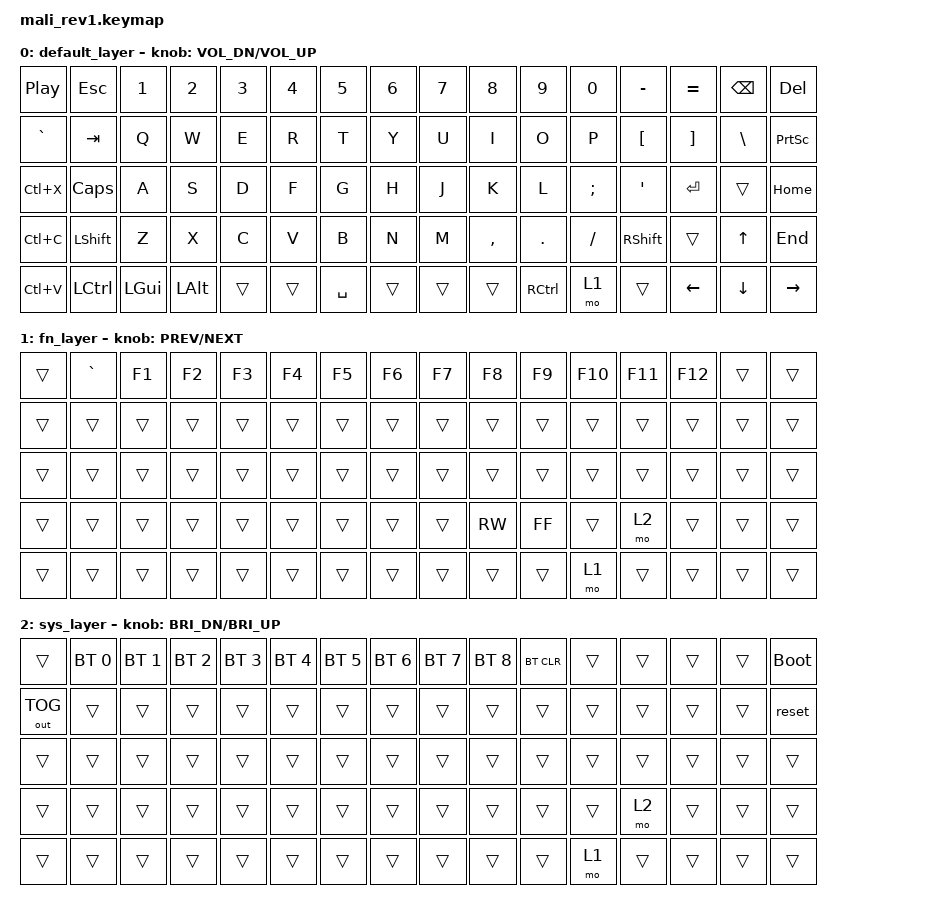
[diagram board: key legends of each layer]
#include <behaviors.dtsi>
#include <dt-bindings/zmk/keys.h>
#include <dt-bindings/zmk/bt.h>
#include <dt-bindings/zmk/outputs.h>
#include <dt-bindings/zmk/rgb.h>
#include <dt-bindings/zmk/ext_power.h>

/ {
	keymap {
		compatible = "zmk,keymap";

		default_layer {
// -----------------------------------------------------------------------------------------
// P/P   | ESC     | 1     | 2     | 3     | 4     | 5     | 6     | 7     | 8     | 9     | 0     | -     |  =    | BSPC  | DEL |
// GRAVE | TAB     | Q     | W     | E     | R     | T     | Y     | U     | I     | O     | P     | [     |  ]    | \     | Print  |
// CUT   | CAPS    | A     | S     | D     | F     | G     | H     | J     | K     | L     | ;     | '     | ENTER |       | HOME   |
// Copy  | SHIFT   | Z     | X     | C     | V     | B     | N     | M     | ,     | .     | /     | SHFT  |       | UP    | END   |
// Paste | CTRL    | WIN   | ALT   |                SPACE                          | CTRL  | LT 1  |       | LFT   | DWN   | RGT   |

			bindings = <
	&kp C_PLAY_PAUSE	&kp ESC         &kp N1           &kp N2        &kp N3        &kp N4        &kp N5           &kp N6           &kp N7           &kp N8           &kp N9           &kp N0           &kp MINUS        &kp EQUAL        &kp BSPC        &kp DEL
	&kp GRAVE			&kp TAB         &kp Q            &kp W         &kp E         &kp R         &kp T            &kp Y            &kp U            &kp I            &kp O            &kp P            &kp LBKT         &kp RBKT         &kp BSLH        &kp PSCRN
	&kp LC(X)			&kp CAPS        &kp A            &kp S         &kp D         &kp F         &kp G            &kp H            &kp J            &kp K            &kp L            &kp SEMI         &kp SQT          &kp RET          &trans          &kp HOME
	&kp LC(C)			&kp LSHFT       &kp Z            &kp X         &kp C         &kp V         &kp B            &kp N            &kp M            &kp COMMA        &kp DOT          &kp FSLH         &kp RSHFT        &trans           &kp UP          &kp END
    &kp LC(V)			&kp LCTRL       &kp LGUI         &kp LALT      &trans        &trans        &kp SPACE        &trans           &trans           &trans           &kp RCTRL         &mo 1            &trans           &kp LEFT         &kp DOWN        &kp RIGHT
			>;
			
			sensor-bindings = <&inc_dec_kp C_VOL_DN C_VOL_UP>;
			
		};


				fn_layer {
// |       | GRAVE |  F1   |  F2   |  F3   |  F4   |  F5   |  F6   |  F7   |  F8   |  F9   |  F10  |  F11  |  F12  | 	|	 |
// |       |       |       |       |       |       |       |       |       |       |       |       |       |       | 	|	 |
// |       |       |       |       |       |       |       |       |       |       |       |       |       |       | 	|    |
// |       |       |       |       |       |       |       |       |       |  RW   |  FF   |       | LT 2  |       | 	|    |
// |       |       |       |                                                       |       | LT 1  |       |       |    |	 |
			bindings = <
	&trans       &kp GRAVE     	  &kp F1     	   &kp F2  		 &kp F3        &kp F4        &kp F5           &kp F6           &kp F7           &kp F8           &kp F9           &kp F10          &kp F11          &kp F12          &trans          &trans
    &trans		 &trans           &trans           &trans        &trans        &trans        &trans           &trans           &trans           &trans           &trans           &trans           &trans           &trans           &trans          &trans    
	&trans       &trans           &trans           &trans        &trans        &trans        &trans           &trans           &trans           &trans           &trans           &trans           &trans           &trans           &trans          &trans    
	&trans       &trans           &trans           &trans        &trans        &trans        &trans           &trans           &trans           &kp C_RW         &kp C_FF         &trans           &mo 2            &trans           &trans          &trans
	&trans       &trans           &trans           &trans        &trans        &trans        &trans           &trans           &trans           &trans           &trans           &mo 1            &trans           &trans           &trans          &trans
			>;

			sensor-bindings = <&inc_dec_kp C_PREV C_NEXT>;

		};
				sys_layer {
// |       | BT_1  | BT_2  | BT_3  | BT_4  | BT_5  | BT_6  | BT_7  | BT_8  | BT_9  | BT_CLR|       |       |     |  | BOOT  |
// |BT_TOG |       |       |       |       |       |       |       |       |       |       |       |       |     |  | RESET |
// |       |       |       |       |       |       |       |       |       |       |       |       |       |     |  |       |
// |       |       |       |       |       |       |       |       |       |       |       |       | LT 2  |     |  |       |
// |       |       |       |                                                       |       | LT 1  |       |     |  |       |
			bindings = <
	&trans       &bt BT_SEL 0     &bt BT_SEL 1     &bt BT_SEL 2  &bt BT_SEL 3  &bt BT_SEL 4  &bt BT_SEL 5     &bt BT_SEL 6     &bt BT_SEL 7     &bt BT_SEL 8     &bt BT_CLR       &trans           &trans           &trans           &trans          &bootloader
    &out OUT_TOG &trans           &trans           &trans        &trans        &trans        &trans           &trans           &trans           &trans           &trans           &trans           &trans           &trans           &trans          &reset    
	&trans       &trans           &trans           &trans        &trans        &trans        &trans           &trans           &trans           &trans           &trans           &trans           &trans           &trans           &trans          &trans    
	&trans       &trans           &trans           &trans        &trans        &trans        &trans           &trans           &trans           &trans           &trans           &trans           &mo 2            &trans           &trans          &trans
	&trans       &trans           &trans           &trans        &trans        &trans        &trans           &trans           &trans           &trans           &trans           &mo 1            &trans           &trans           &trans          &trans
			>;

			sensor-bindings = <&inc_dec_kp C_BRI_DN C_BRI_UP>;

		};
	};
};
